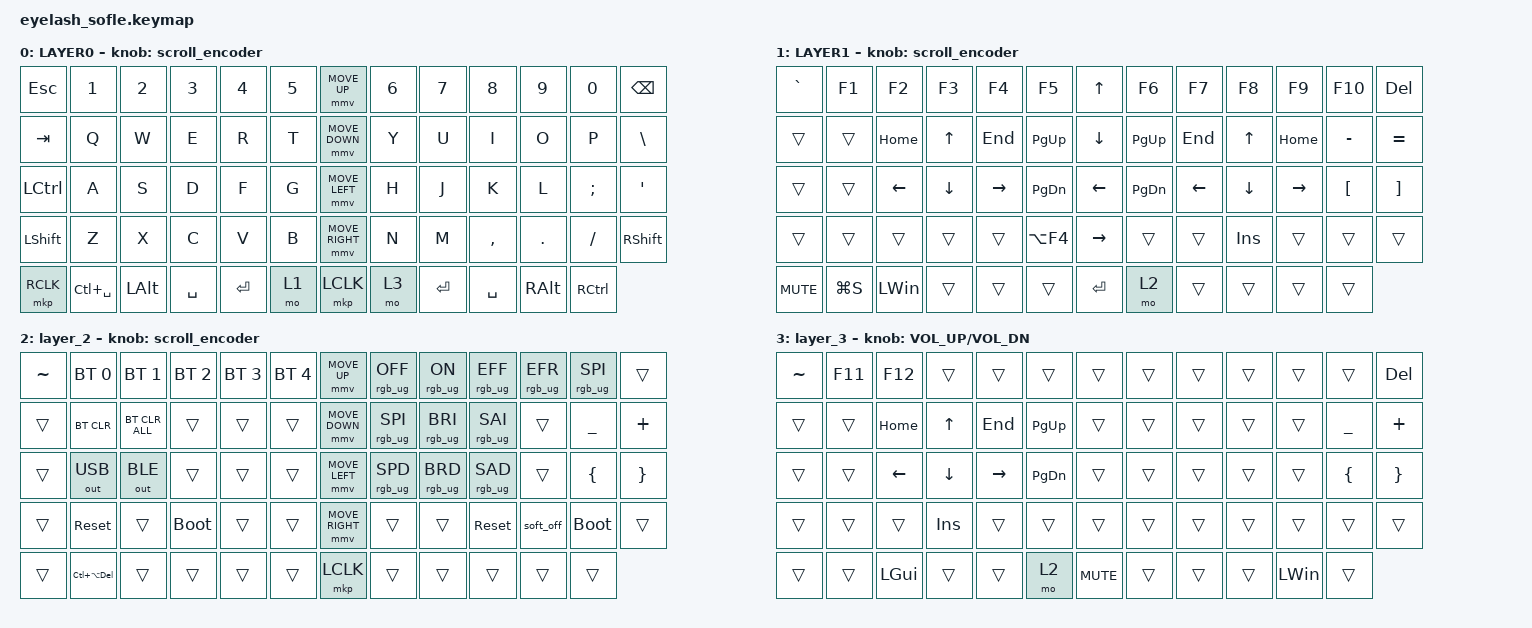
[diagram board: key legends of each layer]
#define ZMK_POINTING_DEFAULT_MOVE_VAL 1200  // 600
#define ZMK_POINTING_DEFAULT_SCRL_VAL 25   // 10

#include <input/processors.dtsi>
#include <zephyr/dt-bindings/input/input-event-codes.h>
#include <behaviors.dtsi>
#include <dt-bindings/zmk/bt.h>
#include <dt-bindings/zmk/keys.h>
#include <dt-bindings/zmk/outputs.h>
#include <dt-bindings/zmk/pointing.h>
#include <dt-bindings/zmk/rgb.h>

&mmv_input_listener { input-processors = <&zip_xy_scaler 2 1>; };

&msc_input_listener { input-processors = <&zip_scroll_scaler 2 1>; };

&msc {
    acceleration-exponent = <1>;      // 0
    time-to-max-speed-ms = <100>;       // 300
    delay-ms = <0>;                   // 0
};

&mmv {
    time-to-max-speed-ms = <500>;
    acceleration-exponent = <1>;
    trigger-period-ms = <16>;
};

/ {
    scroll_encoder: scroll_encoder {
        compatible = "zmk,behavior-sensor-rotate";
        #sensor-binding-cells = <0>;
        bindings = <&msc SCRL_DOWN>, <&msc SCRL_UP>;

        tap-ms = <100>;
    };

    behaviors {
    };

    keymap {
        compatible = "zmk,keymap";

        layer0 {
            bindings = <
&kp ESC    &kp N1         &kp N2        &kp N3     &kp N4     &kp N5    &mmv MOVE_UP     &kp N6  &kp N7     &kp N8     &kp N9         &kp N0     &kp BACKSPACE
&kp TAB    &kp Q          &kp W         &kp E      &kp R      &kp T     &mmv MOVE_DOWN   &kp Y   &kp U      &kp I      &kp O          &kp P      &kp BSLH
&kp LCTRL  &kp A          &kp S         &kp D      &kp F      &kp G     &mmv MOVE_LEFT   &kp H   &kp J      &kp K      &kp L          &kp SEMI   &kp APOS
&kp LSHFT  &kp Z          &kp X         &kp C      &kp V      &kp B     &mmv MOVE_RIGHT  &kp N   &kp M      &kp COMMA  &kp DOT        &kp FSLH   &kp RIGHT_SHIFT
&mkp RCLK  &kp LC(SPACE)  &kp LEFT_ALT  &kp SPACE  &kp ENTER  &mo 1     &mkp LCLK        &mo 3   &kp ENTER  &kp SPACE  &kp RIGHT_ALT  &kp RCTRL
            >;

            sensor-bindings = <&scroll_encoder>;
            display-name = "LAYER0";
        };

        layer_1 {
            bindings = <
&kp GRAVE   &kp F1     &kp F2          &kp F3          &kp F4           &kp F5        &kp UP_ARROW     &kp F6     &kp F7    &kp F8      &kp F9     &kp F10           &kp DELETE
&trans      &trans     &kp HOME        &kp UP_ARROW    &kp END          &kp PG_UP     &kp DOWN_ARROW   &kp PG_UP  &kp END   &kp UP      &kp HOME   &kp MINUS         &kp EQUAL
&trans      &trans     &kp LEFT_ARROW  &kp DOWN_ARROW  &kp RIGHT_ARROW  &kp PG_DN     &kp LEFT_ARROW   &kp PG_DN  &kp LEFT  &kp DOWN    &kp RIGHT  &kp LEFT_BRACKET  &kp RIGHT_BRACKET
&trans      &trans     &trans          &trans          &trans           &kp LA(F4)    &kp RIGHT_ARROW  &trans     &trans    &kp INSERT  &trans     &trans            &trans
&kp C_MUTE  &kp LG(S)  &kp LEFT_WIN    &trans          &trans           &trans        &kp ENTER        &mo 2      &trans    &trans      &trans     &trans
            >;

            display-name = "LAYER1";
            sensor-bindings = <&scroll_encoder>;
        };

        layer_2 {
            bindings = <
&kp TILDE  &bt BT_SEL 0        &bt BT_SEL 1    &bt BT_SEL 2  &bt BT_SEL 3  &bt BT_SEL 4    &mmv MOVE_UP     &rgb_ug RGB_OFF  &rgb_ug RGB_ON   &rgb_ug RGB_EFF  &rgb_ug RGB_EFR  &rgb_ug RGB_SPI  &trans
&trans     &bt BT_CLR          &bt BT_CLR_ALL  &trans        &trans        &trans          &mmv MOVE_DOWN   &rgb_ug RGB_SPI  &rgb_ug RGB_BRI  &rgb_ug RGB_SAI  &trans           &kp UNDER        &kp PLUS
&trans     &out OUT_USB        &out OUT_BLE    &trans        &trans        &trans          &mmv MOVE_LEFT   &rgb_ug RGB_SPD  &rgb_ug RGB_BRD  &rgb_ug RGB_SAD  &trans           &kp LBRC         &kp RBRC
&trans     &sys_reset          &trans          &bootloader   &trans        &trans          &mmv MOVE_RIGHT  &trans           &trans           &sys_reset       &soft_off        &bootloader      &trans
&trans     &kp LC(LA(DELETE))  &trans          &trans        &trans        &trans          &mkp LCLK        &trans           &trans           &trans           &trans           &trans
            >;

            sensor-bindings = <&scroll_encoder>;
        };

        layer_3 {
            bindings = <
&kp TILDE  &kp F11  &kp F12       &trans          &trans     &trans           &trans      &trans  &trans  &trans  &trans        &trans          &kp DELETE
&trans     &trans   &kp HOME      &kp UP_ARROW    &kp END    &kp PAGE_UP      &trans      &trans  &trans  &trans  &trans        &kp UNDERSCORE  &kp PLUS
&trans     &trans   &kp LEFT      &kp DOWN_ARROW  &kp RIGHT  &kp PAGE_DOWN    &trans      &trans  &trans  &trans  &trans        &kp LBRC        &kp RBRC
&trans     &trans   &trans        &kp INS         &trans     &trans           &trans      &trans  &trans  &trans  &trans        &trans          &trans
&trans     &trans   &kp LEFT_GUI  &trans          &trans     &mo 2            &kp C_MUTE  &trans  &trans  &trans  &kp LEFT_WIN  &trans
            >;

            sensor-bindings = <&inc_dec_kp C_VOL_UP C_VOL_DN>;
        };
    };
};
